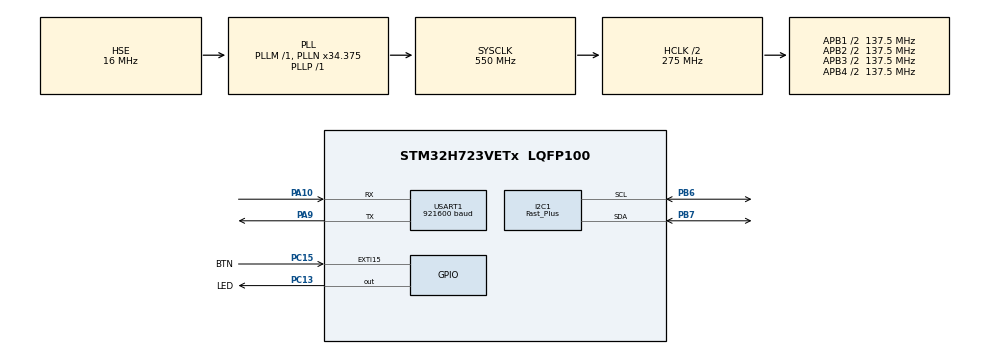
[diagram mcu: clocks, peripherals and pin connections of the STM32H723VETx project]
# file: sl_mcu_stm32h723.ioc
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CORTEX_M7.default_mode_Activation=1
I2C1.CustomTiming=Disabled
I2C1.I2C_Speed_Mode=I2C_Fast_Plus
I2C1.Timing=0x00601A5C
Mcu.Family=STM32H7
Mcu.Name=STM32H723VETx
Mcu.Package=LQFP100
NVIC.EXTI15_10_IRQn=true\:0\:0\:false\:false\:true\:true\:true\:true
NVIC.PriorityGroup=NVIC_PRIORITYGROUP_4
PA10.Mode=Asynchronous
PA10.Signal=USART1_RX
PA13(JTMS/SWDIO).Mode=Trace_Asynchronous_SW
PA13(JTMS/SWDIO).Signal=DEBUG_JTMS-SWDIO
PA14(JTCK/SWCLK).Mode=Trace_Asynchronous_SW
PA14(JTCK/SWCLK).Signal=DEBUG_JTCK-SWCLK
PA9.Mode=Asynchronous
PA9.Signal=USART1_TX
PB3(JTDO/TRACESWO).Mode=Trace_Asynchronous_SW
PB3(JTDO/TRACESWO).Signal=DEBUG_JTDO-SWO
PB6.Mode=I2C
PB6.Signal=I2C1_SCL
PB7.Mode=I2C
PB7.Signal=I2C1_SDA
PC13.GPIO_Label=LED
PC13.GPIO_ModeDefaultOutputPP=GPIO_MODE_OUTPUT_OD
PC13.GPIO_PuPd=GPIO_NOPULL
PC13.PinState=GPIO_PIN_SET
PC13.Signal=GPIO_Output
PC15-OSC32_OUT.GPIO_Label=BTN
PC15-OSC32_OUT.Signal=GPXTI15
PH0-OSC_IN.Mode=HSE-External-Oscillator
PH0-OSC_IN.Signal=RCC_OSC_IN
PH1-OSC_OUT.Mode=HSE-External-Oscillator
PH1-OSC_OUT.Signal=RCC_OSC_OUT
ProjectManager.HeapSize=0x200
ProjectManager.StackSize=0x400
ProjectManager.TargetToolchain=STM32CubeIDE
RCC.ADCFreq_Value=32250000
RCC.APB1Freq_Value=137500000
RCC.APB2Freq_Value=137500000
RCC.APB3Freq_Value=137500000
RCC.APB4Freq_Value=137500000
RCC.CortexFreq_Value=550000000
RCC.D1PPRE=RCC_APB3_DIV2
RCC.D2PPRE1=RCC_APB1_DIV2
RCC.D2PPRE2=RCC_APB2_DIV2
RCC.D3PPRE=RCC_APB4_DIV2
RCC.DIVM1=1
RCC.DIVN1=34
RCC.DIVP1=1
RCC.HCLKFreq_Value=275000000
RCC.HPRE=RCC_HCLK_DIV2
RCC.HSE_VALUE=16000000
RCC.PLLFRACN=3072
RCC.PLLSourceVirtual=RCC_PLLSOURCE_HSE
RCC.SYSCLKFreq_VALUE=550000000
RCC.SYSCLKSource=RCC_SYSCLKSOURCE_PLLCLK
RCC.USBFreq_Value=275000000
USART1.BaudRate=921600
USART1.VirtualMode-Asynchronous=VM_ASYNC
VP_MEMORYMAP_VS_MEMORYMAP.Mode=CurAppReg
board=custom

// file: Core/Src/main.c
/* USER CODE BEGIN Header */
/**
 ******************************************************************************
 * @file           : main.c
 * @brief          : Main program body
 ******************************************************************************
 * @attention
 *
 * Copyright (c) 2026 Lars Boegild Thomsen <lbthomsen@gmail.com>
 * All rights reserved.
 *
 * This software is licensed under terms that can be found in the LICENSE file
 * in the root directory of this software component.
 * If no LICENSE file comes with this software, it is provided AS-IS.
 *
 ******************************************************************************
 */
/* USER CODE END Header */
#include "main.h"

/* USER CODE BEGIN Includes */
#include <string.h>
#include <stdio.h>
#include "m24cxx.h"
/* USER CODE END Includes */

I2C_HandleTypeDef hi2c1;

UART_HandleTypeDef huart1;

/* USER CODE BEGIN PV */

M24CXX_HandleTypeDef m24cxx;

uint8_t buf[1024];

/* USER CODE END PV */

void SystemClock_Config(void);
static void MPU_Config(void);
static void MX_GPIO_Init(void);
static void MX_I2C1_Init(void);
static void MX_USART1_UART_Init(void);

/* USER CODE BEGIN 0 */

/**
 * @brief IEEE 802.3 CRC32 calculation.
 */
uint32_t calculate_crc32(const uint8_t *data, size_t length, uint32_t previous_crc) {
    uint32_t crc = ~previous_crc;
    for (size_t i = 0; i < length; i++) {
        crc ^= data[i];
        for (int j = 0; j < 8; j++) {
            if (crc & 1)
                crc = (crc >> 1) ^ 0xEDB88320;
            else
                crc >>= 1;
        }
    }
    return ~crc;
}

/**
 * @brief Runs write, read, and CRC verification pass over configurable test size.
 * @param dev Pointer to initialized m24cxx device struct
 * @param test_size_bytes Total bytes to benchmark (e.g. 16384 for fast test, M24CXX_SIZE for full 512 kB run)
 */
void run_m24cxx_demo(M24CXX_HandleTypeDef *dev, uint32_t test_size_bytes) {
    uint8_t tx_buf[M24CXX_WRITE_PAGE_SIZE];
    uint8_t rx_buf[M24CXX_READ_PAGE_SIZE];

    if (test_size_bytes > M24CXX_SIZE) {
        test_size_bytes = M24CXX_SIZE;
    }

    printf("\n=== Starting %lu kB (%s) Memory Benchmark ===\n", test_size_bytes / 1024, M24CXX_TYPE);

    // --- WRITE PASS ---
    printf("Writing %lu kB in %d-byte blocks via m24cxx...\n", test_size_bytes / 1024, M24CXX_WRITE_PAGE_SIZE);

    uint32_t write_crc = 0;
    uint32_t start_write_tick = uwTick;
    uint32_t bytes_written = 0;

    for (uint32_t addr = 0; addr < test_size_bytes; addr += M24CXX_WRITE_PAGE_SIZE) {

        for (uint32_t i = 0; i < M24CXX_WRITE_PAGE_SIZE; i++) {
            tx_buf[i] = (uint8_t) ((addr + i) ^ 0xA5);
        }

        write_crc = calculate_crc32(tx_buf, M24CXX_WRITE_PAGE_SIZE, write_crc);

        if (m24cxx_write(dev, addr, tx_buf, M24CXX_WRITE_PAGE_SIZE) != M24CXX_Ok) {
            printf("\n[ERROR] m24cxx_write failed at 0x%05lX\n", addr);
            return;
        }

        bytes_written += M24CXX_WRITE_PAGE_SIZE;

        // Print a dot for every 1 kB (1024 bytes)
        if (bytes_written % 1024 == 0) {
            printf(".");
            fflush(stdout);

            // Wrap line and show progress every 16 kB
            if ((bytes_written / 1024) % 16 == 0) {
                printf(" [%lu kB / %lu ms]\n", bytes_written / 1024, uwTick - start_write_tick);
            }
        }
    }

    if ((bytes_written / 1024) % 16 != 0) {
        printf("\n");
    }

    uint32_t write_elapsed_ms = uwTick - start_write_tick;
    printf("Write Complete in %lu ms | CRC32: 0x%08lX\n\n", write_elapsed_ms, write_crc);

    // --- READ PASS ---
    printf("Reading back %lu kB and verifying CRC...\n", test_size_bytes / 1024);

    uint32_t read_crc = 0;
    uint32_t start_read_tick = uwTick;
    uint32_t bytes_read = 0;

    for (uint32_t addr = 0; addr < test_size_bytes; addr += M24CXX_READ_PAGE_SIZE) {
        memset(rx_buf, 0, M24CXX_READ_PAGE_SIZE);

        if (m24cxx_read(dev, addr, rx_buf, M24CXX_READ_PAGE_SIZE) != M24CXX_Ok) {
            printf("\n[ERROR] m24cxx_read failed at 0x%05lX\n", addr);
            return;
        }

        read_crc = calculate_crc32(rx_buf, M24CXX_READ_PAGE_SIZE, read_crc);

        bytes_read += M24CXX_READ_PAGE_SIZE;

        // Print a dot for every 1 kB (1024 bytes)
        if (bytes_read % 1024 == 0) {
            printf(".");
            fflush(stdout);

            // Wrap line and show progress every 16 kB
            if ((bytes_read / 1024) % 16 == 0) {
                printf(" [%lu kB / %lu ms]\n", bytes_read / 1024, uwTick - start_read_tick);
            }
        }
    }

    if ((bytes_read / 1024) % 16 != 0) {
        printf("\n");
    }

    uint32_t read_elapsed_ms = uwTick - start_read_tick;
    printf("Read Complete in %lu ms | CRC32: 0x%08lX\n\n", read_elapsed_ms, read_crc);

    // --- VERIFICATION ---
    if (write_crc == read_crc) {
        printf("SUCCESS: CRC Match (0x%08lX)\n\n", write_crc);
    } else {
        printf("FAILURE: CRC Mismatch! Write: 0x%08lX != Read: 0x%08lX\n\n", write_crc, read_crc);
    }
}

/* USER CODE END 0 */

int main(void)
{

    /* MPU Configuration--------------------------------------------------------*/
    MPU_Config();

    /* MCU Configuration--------------------------------------------------------*/

    /* Reset of all peripherals, Initializes the Flash interface and the Systick. */
    HAL_Init();

    /* Configure the system clock */
    SystemClock_Config();

    /* Initialize all configured peripherals */
    MX_GPIO_Init();
    MX_I2C1_Init();
    MX_USART1_UART_Init();
    /* USER CODE BEGIN 2 */

    printf("\n\n\n--------\nStarting\n");

    //DBG("Powering up memory");
    //HAL_GPIO_WritePin(POW_GPIO_Port, POW_Pin, GPIO_PIN_SET);

    // Wait a few ms to get ready
    HAL_Delay(10);

    printf("Scanning I2C bus:\n");
    // Go through all possible i2c addresses
    for (uint8_t i = 0; i < 128; i++) {

        if (HAL_I2C_IsDeviceReady(&hi2c1, (uint16_t) (i << 1), 3, 100) == HAL_OK) {
            // We got an ack
            printf("%2x ", i);
        } else {
            printf("-- ");
        }

        if (i > 0 && (i + 1) % 16 == 0)
            printf("\n");

    }

    printf("\r\n");

    if (m24cxx_init(&m24cxx, &hi2c1, 0x50) != M24CXX_Ok) {
        printf("M24CXX Failed to initialize\n");
        Error_Handler();
    }

    run_m24cxx_demo(&m24cxx, M24CXX_SIZE);
    //run_m24cxx_demo(&m24cxx, 16 * 1024);

    /* USER CODE END 2 */

    /* Infinite loop */
    /* USER CODE BEGIN WHILE */

    uint32_t now = 0, last_blink = 0;

    while (1) {

        now = HAL_GetTick();

        if (now - last_blink >= 500) {
            HAL_GPIO_TogglePin(LED_GPIO_Port, LED_Pin);
            last_blink = now;
        }

        /* USER CODE END WHILE */

    }
}

void SystemClock_Config(void)
{
    RCC_OscInitTypeDef RCC_OscInitStruct = { 0 };
    RCC_ClkInitTypeDef RCC_ClkInitStruct = { 0 };

    /** Supply configuration update enable
     */
    HAL_PWREx_ConfigSupply(PWR_LDO_SUPPLY);

    /** Configure the main internal regulator output voltage
     */
    __HAL_PWR_VOLTAGESCALING_CONFIG(PWR_REGULATOR_VOLTAGE_SCALE0);

    while (!__HAL_PWR_GET_FLAG(PWR_FLAG_VOSRDY)) {
    }

    /** Initializes the RCC Oscillators according to the specified parameters
     * in the RCC_OscInitTypeDef structure.
     */
    RCC_OscInitStruct.OscillatorType = RCC_OSCILLATORTYPE_HSE;
    RCC_OscInitStruct.HSEState = RCC_HSE_ON;
    RCC_OscInitStruct.PLL.PLLState = RCC_PLL_ON;
    RCC_OscInitStruct.PLL.PLLSource = RCC_PLLSOURCE_HSE;
    RCC_OscInitStruct.PLL.PLLM = 1;
    RCC_OscInitStruct.PLL.PLLN = 34;
    RCC_OscInitStruct.PLL.PLLP = 1;
    RCC_OscInitStruct.PLL.PLLQ = 2;
    RCC_OscInitStruct.PLL.PLLR = 2;
    RCC_OscInitStruct.PLL.PLLRGE = RCC_PLL1VCIRANGE_3;
    RCC_OscInitStruct.PLL.PLLVCOSEL = RCC_PLL1VCOWIDE;
    RCC_OscInitStruct.PLL.PLLFRACN = 3072;
    if (HAL_RCC_OscConfig(&RCC_OscInitStruct) != HAL_OK)
            {
        Error_Handler();
    }

    /** Initializes the CPU, AHB and APB buses clocks
     */
    RCC_ClkInitStruct.ClockType = RCC_CLOCKTYPE_HCLK | RCC_CLOCKTYPE_SYSCLK
            | RCC_CLOCKTYPE_PCLK1 | RCC_CLOCKTYPE_PCLK2
            | RCC_CLOCKTYPE_D3PCLK1 | RCC_CLOCKTYPE_D1PCLK1;
    RCC_ClkInitStruct.SYSCLKSource = RCC_SYSCLKSOURCE_PLLCLK;
    RCC_ClkInitStruct.SYSCLKDivider = RCC_SYSCLK_DIV1;
    RCC_ClkInitStruct.AHBCLKDivider = RCC_HCLK_DIV2;
    RCC_ClkInitStruct.APB3CLKDivider = RCC_APB3_DIV2;
    RCC_ClkInitStruct.APB1CLKDivider = RCC_APB1_DIV2;
    RCC_ClkInitStruct.APB2CLKDivider = RCC_APB2_DIV2;
    RCC_ClkInitStruct.APB4CLKDivider = RCC_APB4_DIV2;

    if (HAL_RCC_ClockConfig(&RCC_ClkInitStruct, FLASH_LATENCY_3) != HAL_OK)
            {
        Error_Handler();
    }
}

static void MX_I2C1_Init(void)
{

    hi2c1.Instance = I2C1;
    hi2c1.Init.Timing = 0x00601A5C;
    hi2c1.Init.OwnAddress1 = 0;
    hi2c1.Init.AddressingMode = I2C_ADDRESSINGMODE_7BIT;
    hi2c1.Init.DualAddressMode = I2C_DUALADDRESS_DISABLE;
    hi2c1.Init.OwnAddress2 = 0;
    hi2c1.Init.OwnAddress2Masks = I2C_OA2_NOMASK;
    hi2c1.Init.GeneralCallMode = I2C_GENERALCALL_DISABLE;
    hi2c1.Init.NoStretchMode = I2C_NOSTRETCH_DISABLE;
    if (HAL_I2C_Init(&hi2c1) != HAL_OK)
            {
        Error_Handler();
    }

    /** Configure Analogue filter
     */
    if (HAL_I2CEx_ConfigAnalogFilter(&hi2c1, I2C_ANALOGFILTER_ENABLE) != HAL_OK)
            {
        Error_Handler();
    }

    /** Configure Digital filter
     */
    if (HAL_I2CEx_ConfigDigitalFilter(&hi2c1, 0) != HAL_OK)
            {
        Error_Handler();
    }

    /** I2C Enable Fast Mode Plus
     */
    HAL_I2CEx_EnableFastModePlus(I2C_FASTMODEPLUS_I2C1);

}

static void MX_USART1_UART_Init(void)
{

    huart1.Instance = USART1;
    huart1.Init.BaudRate = 921600;
    huart1.Init.WordLength = UART_WORDLENGTH_8B;
    huart1.Init.StopBits = UART_STOPBITS_1;
    huart1.Init.Parity = UART_PARITY_NONE;
    huart1.Init.Mode = UART_MODE_TX_RX;
    huart1.Init.HwFlowCtl = UART_HWCONTROL_NONE;
    huart1.Init.OverSampling = UART_OVERSAMPLING_16;
    huart1.Init.OneBitSampling = UART_ONE_BIT_SAMPLE_DISABLE;
    huart1.Init.ClockPrescaler = UART_PRESCALER_DIV1;
    huart1.AdvancedInit.AdvFeatureInit = UART_ADVFEATURE_NO_INIT;
    if (HAL_UART_Init(&huart1) != HAL_OK)
            {
        Error_Handler();
    }
    if (HAL_UARTEx_SetTxFifoThreshold(&huart1, UART_TXFIFO_THRESHOLD_1_8) != HAL_OK)
            {
        Error_Handler();
    }
    if (HAL_UARTEx_SetRxFifoThreshold(&huart1, UART_RXFIFO_THRESHOLD_1_8) != HAL_OK)
            {
        Error_Handler();
    }
    if (HAL_UARTEx_DisableFifoMode(&huart1) != HAL_OK)
            {
        Error_Handler();
    }

}

static void MX_GPIO_Init(void)
{
    GPIO_InitTypeDef GPIO_InitStruct = { 0 };

    /* GPIO Ports Clock Enable */
    __HAL_RCC_GPIOC_CLK_ENABLE();
    __HAL_RCC_GPIOH_CLK_ENABLE();
    __HAL_RCC_GPIOA_CLK_ENABLE();
    __HAL_RCC_GPIOB_CLK_ENABLE();

    /*Configure GPIO pin Output Level */
    HAL_GPIO_WritePin(LED_GPIO_Port, LED_Pin, GPIO_PIN_SET);

    /*Configure GPIO pin : LED_Pin */
    GPIO_InitStruct.Pin = LED_Pin;
    GPIO_InitStruct.Mode = GPIO_MODE_OUTPUT_OD;
    GPIO_InitStruct.Pull = GPIO_NOPULL;
    GPIO_InitStruct.Speed = GPIO_SPEED_FREQ_LOW;
    HAL_GPIO_Init(LED_GPIO_Port, &GPIO_InitStruct);

    /*Configure GPIO pin : BTN_Pin */
    GPIO_InitStruct.Pin = BTN_Pin;
    GPIO_InitStruct.Mode = GPIO_MODE_IT_RISING;
    GPIO_InitStruct.Pull = GPIO_NOPULL;
    HAL_GPIO_Init(BTN_GPIO_Port, &GPIO_InitStruct);

    /* EXTI interrupt init*/
    HAL_NVIC_SetPriority(BTN_EXTI_IRQn, 0, 0);
    HAL_NVIC_EnableIRQ(BTN_EXTI_IRQn);

}

/* USER CODE BEGIN 4 */

// Send printf to uart1
int __io_putchar(int ch) {
    if (ch == '\n') {
        HAL_UART_Transmit(&huart1, (uint8_t*) "\r", 1, HAL_MAX_DELAY);
    }
    if (HAL_UART_Transmit(&huart1, (uint8_t*) &ch, 1, HAL_MAX_DELAY) != HAL_OK) {
        return -1;
    }
    return ch;
}

/* USER CODE END 4 */

/* MPU Configuration */

void MPU_Config(void)
{
    MPU_Region_InitTypeDef MPU_InitStruct = { 0 };

    /* Disables the MPU */
    HAL_MPU_Disable();

    /** Initializes and configures the Region and the memory to be protected
     */
    MPU_InitStruct.Enable = MPU_REGION_ENABLE;
    MPU_InitStruct.Number = MPU_REGION_NUMBER0;
    MPU_InitStruct.BaseAddress = 0x0;
    MPU_InitStruct.Size = MPU_REGION_SIZE_4GB;
    MPU_InitStruct.SubRegionDisable = 0x87;
    MPU_InitStruct.TypeExtField = MPU_TEX_LEVEL0;
    MPU_InitStruct.AccessPermission = MPU_REGION_NO_ACCESS;
    MPU_InitStruct.DisableExec = MPU_INSTRUCTION_ACCESS_DISABLE;
    MPU_InitStruct.IsShareable = MPU_ACCESS_SHAREABLE;
    MPU_InitStruct.IsCacheable = MPU_ACCESS_NOT_CACHEABLE;
    MPU_InitStruct.IsBufferable = MPU_ACCESS_NOT_BUFFERABLE;

    HAL_MPU_ConfigRegion(&MPU_InitStruct);
    /* Enables the MPU */
    HAL_MPU_Enable(MPU_PRIVILEGED_DEFAULT);

}

void Error_Handler(void)
{
    __disable_irq();
    while (1) {
    }
}
